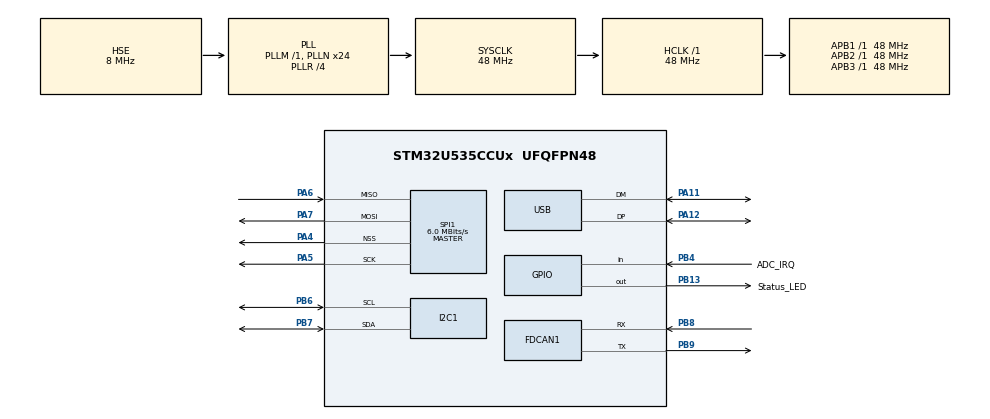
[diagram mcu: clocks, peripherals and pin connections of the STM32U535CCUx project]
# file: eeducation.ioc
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CORTEX_M33_NS.userName=CORTEX_M33
FDCAN1.CalculateBaudRateNominal=31250
FDCAN1.CalculateTimeBitNominal=32000
FDCAN1.CalculateTimeQuantumNominal=2000.0
FDCAN1.NominalPrescaler=16
FDCAN1.NominalTimeSeg1=13
FDCAN1.NominalTimeSeg2=2
I2C1.Timing=0x20303E5D
Mcu.Family=STM32U5
Mcu.Name=STM32U535CCUx
Mcu.Package=UFQFPN48
NVIC.PriorityGroup=NVIC_PRIORITYGROUP_4
NVIC.TIM1_UP_IRQn=true\:0\:0\:false\:false\:true\:true\:true\:true
NVIC.USB_IRQn=true\:0\:0\:false\:false\:true\:true\:true\:true
PA11.Mode=Device
PA11.Signal=USB_DM
PA12.Mode=Device
PA12.Signal=USB_DP
PA13\ (JTMS/SWDIO).Mode=Trace_Asynchronous_SW
PA13\ (JTMS/SWDIO).Signal=DEBUG_JTMS-SWDIO
PA14\ (JTCK/SWCLK).Mode=Trace_Asynchronous_SW
PA14\ (JTCK/SWCLK).Signal=DEBUG_JTCK-SWCLK
PA4.Mode=NSS_Signal_Hard_Output
PA4.Signal=SPI1_NSS
PA5.Mode=Full_Duplex_Master
PA5.Signal=SPI1_SCK
PA6.Mode=Full_Duplex_Master
PA6.Signal=SPI1_MISO
PA7.Mode=Full_Duplex_Master
PA7.Signal=SPI1_MOSI
PB13.GPIO_Label=Status_LED
PB13.Signal=GPIO_Output
PB3\ (JTDO/TRACESWO).Mode=Trace_Asynchronous_SW
PB3\ (JTDO/TRACESWO).Signal=DEBUG_JTDO-SWO
PB4\ (NJTRST).GPIO_Label=ADC_IRQ
PB4\ (NJTRST).Signal=GPIO_Input
PB6.Mode=I2C
PB6.Signal=I2C1_SCL
PB7.Mode=I2C
PB7.Signal=I2C1_SDA
PB8.Mode=FDCAN_Activate
PB8.Signal=FDCAN1_RX
PB9.Mode=FDCAN_Activate
PB9.Signal=FDCAN1_TX
PH0-OSC_IN\ (PH0).Mode=HSE-External-Oscillator
PH0-OSC_IN\ (PH0).Signal=RCC_OSC_IN
PH1-OSC_OUT\ (PH1).Mode=HSE-External-Oscillator
PH1-OSC_OUT\ (PH1).Signal=RCC_OSC_OUT
ProjectManager.HeapSize=0x200
ProjectManager.StackSize=0x400
ProjectManager.TargetToolchain=CMake
RCC.ADCFreq_Value=16000000
RCC.AHBFreq_Value=48000000
RCC.APB1Freq_Value=48000000
RCC.APB1TimFreq_Value=48000000
RCC.APB2Freq_Value=48000000
RCC.APB2TimFreq_Value=48000000
RCC.APB3Freq_Value=48000000
RCC.CK48CLockSelection=RCC_CLK48CLKSOURCE_PLL2
RCC.CortexFreq_Value=48000000
RCC.DACCLockSelectionVirtual=RCC_DAC1CLKSOURCE_LSI
RCC.DACCLockSelectionVirtualString=RCC_DAC1CLKSOURCE_LSI
RCC.EPOD_VALUE=8000000
RCC.FDCANClockSelection=RCC_FDCAN1CLKSOURCE_HSE
RCC.HCLKFreq_Value=48000000
RCC.HSE_VALUE=8000000
RCC.HSI48_VALUE=48000000
RCC.HSI_VALUE=16000000
RCC.LSE_VALUE=32768
RCC.LSIDIV_VALUE=32000
RCC.MSIClockRange=RCC_MSIRANGE_0
RCC.MSI_VALUE=48000000
RCC.PLL1Q=1
RCC.PLL1R=4
RCC.PLL2FRACN=0
RCC.PLL2N=24
RCC.PLL2Q=4
RCC.PLL2Source=RCC_PLLSOURCE_HSE
RCC.PLL3Source=RCC_PLLSOURCE_HSE
RCC.PLLFRACN=0
RCC.PLLN=24
RCC.PLLSourceVirtual=RCC_PLLSOURCE_HSE
RCC.SYSCLKFreq_VALUE=48000000
RCC.SYSCLKSource=RCC_SYSCLKSOURCE_PLLCLK
RCC.USBFreq_Value=48000000
RCC.VCOOutputFreq_Value=192000000
SPI1.BaudRatePrescaler=SPI_BAUDRATEPRESCALER_8
SPI1.CalculateBaudRate=6.0 MBits/s
SPI1.DataSize=SPI_DATASIZE_8BIT
SPI1.Direction=SPI_DIRECTION_2LINES
SPI1.MasterKeepIOState=SPI_MASTER_KEEP_IO_STATE_ENABLE
SPI1.Mode=SPI_MODE_MASTER
SPI1.NSSPMode=SPI_NSS_PULSE_DISABLE
SPI1.VirtualNSS=VM_NSSHARD
SPI1.VirtualType=VM_MASTER
TIM1.PeriodNoDither=7999
TIM1.Prescaler=999
USBX.AZRTOS_APP_MEM_ALLOCATION_METHOD_STANDALONE=1
USBX.BSP.number=1
USBX.Core_System=1
USBX.USBD_CDCACM_EPIN_ADDR=2
USBX.USBD_CDCACM_EPOUT_ADDR=3
USBX.UX_APP_MEM_POOL_SIZE_STANDALONE=65536
USBX.UX_DEVICE_CDC_ACM=1
USBX.UX_Device_Controller=1
USBX.UX_Device_CoreStack=1
USBX0.BSP.STBoard=false
USBX0.BSP.api=Unknown
USBX0.BSP.condition=SEMAOoUSBOoDRDOoFSOoDEVICEOoFOROoUSBX & DIE455
USBX0.BSP.instance=USB_DRD_FS
USBX0.BSP.ip=USB_DRD_FS
USBX0.BSP.mode=Device_Only_FS
USBX0.BSP.name=USB_Device
USBX0.BSP.solution=USB_DRD_FS
VP_FLASH_SIG_Activate_FlashIP.Mode=Activate_FlashIP
VP_ICACHE_VS_ICACHE.Mode=DefaultMode
VP_LPBAMQUEUE_VS_QUEUE.Mode=QUEUEMODE
VP_LPBAM_VS_SIG1.Mode=SmartRun
VP_LPBAM_VS_SIG4.Mode=LPDMA1
VP_MEMORYMAP_VS_MEMORYMAP.Mode=CurAppReg
VP_PWR_VS_SECSignals.Mode=Security/Privilege
VP_TIM1_VS_ClockSourceINT.Mode=Internal
VP_USBX_Core_System.Mode=Core_System
VP_USBX_UX\ Device\ CDC\ ACM\ Class_FS.Mode=UX_Device_class_CDC_ACM_FS
VP_USBX_UX\ Device\ Controller_FS.Mode=UX_Device_Controller_FS
VP_USBX_UX\ Device\ CoreStack_FS.Mode=UX_Device_CoreStack_FS
board=custom

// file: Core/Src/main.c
/* USER CODE BEGIN Header */
/**
 ******************************************************************************
 * @file           : main.c
 * @brief          : Main program body
 ******************************************************************************
 * @attention
 *
 * Copyright (c) 2026 STMicroelectronics.
 * All rights reserved.
 *
 * This software is licensed under terms that can be found in the LICENSE file
 * in the root directory of this software component.
 * If no LICENSE file comes with this software, it is provided AS-IS.
 *
 ******************************************************************************
 */
/* USER CODE END Header */
#include "main.h"
#include "app_usbx.h"

/* USER CODE BEGIN Includes */
#include "labs.h"
#include <stdio.h>

/* USER CODE END Includes */

FDCAN_HandleTypeDef hfdcan1;

I2C_HandleTypeDef hi2c1;

SPI_HandleTypeDef hspi1;

TIM_HandleTypeDef htim1;

PCD_HandleTypeDef hpcd_USB_DRD_FS;

/* USER CODE BEGIN PV */
extern UX_SLAVE_CLASS_CDC_ACM *cdc_acm;
/* USER CODE END PV */

void SystemClock_Config(void);
static void MX_GPIO_Init(void);
static void MX_FDCAN1_Init(void);
static void MX_FLASH_Init(void);
static void MX_I2C1_Init(void);
static void MX_SPI1_Init(void);
static void MX_ICACHE_Init(void);
static void MX_TIM1_Init(void);
/* USER CODE BEGIN PFP */
#include <string.h>

void usb_print(const char *s)
{
  if (cdc_acm == UX_NULL) return;          /* host not connected/configured */

  ULONG actual = 0;
  UINT  status;
  ULONG len = strlen(s);

  do {
    status = ux_device_class_cdc_acm_write_run(cdc_acm, (UCHAR *)s, len, &actual);
    ux_system_tasks_run();                 /* keep the stack moving while waiting */
  } while (status == UX_STATE_WAIT);
}
/* USER CODE END PFP */

/* USER CODE BEGIN 0 */
// printf() ends up here and goes out over SWO (ITM port 0) when SWV is
// running. ITM_SendChar() would spin forever if ITM is enabled but nothing is
// draining SWO, so only write to port 0 when it's ready.
int __io_putchar(int ch) {
  if ((ITM->TCR & ITM_TCR_ITMENA_Msk) && (ITM->TER & 1UL) &&
      ITM->PORT[0U].u32 != 0UL) {
    ITM->PORT[0U].u8 = (uint8_t)ch;
  }
  return ch;
}
/* USER CODE END 0 */

int main(void)
{

  /* MCU Configuration--------------------------------------------------------*/

  /* Reset of all peripherals, Initializes the Flash interface and the Systick. */
  HAL_Init();

  /* Configure the system clock */
  SystemClock_Config();

  /* Initialize all configured peripherals */
  MX_GPIO_Init();
  MX_FDCAN1_Init();
  MX_FLASH_Init();
  MX_I2C1_Init();
  MX_SPI1_Init();
  MX_ICACHE_Init();
  MX_TIM1_Init();
  MX_USB_DRD_FS_PCD_Init();
  MX_USBX_Init();
  /* USER CODE BEGIN 2 */

  // lab_1();
  // lab_2();
  // lab_3();
  // lab_4();

  /* USER CODE END 2 */

  /* Infinite loop */
  while (1) {

    /* USER CODE BEGIN 3 */
	//MX_USBX_Process();
	ux_system_tasks_run();
	static uint32_t last = 0;

	if (HAL_GetTick() - last >= 1000) {
		last = HAL_GetTick();
		usb_print("hello from STM32\r\n");
	}
  }
  /* USER CODE END 3 */
}

void SystemClock_Config(void)
{
  RCC_OscInitTypeDef RCC_OscInitStruct = {0};
  RCC_ClkInitTypeDef RCC_ClkInitStruct = {0};

  /** Configure the main internal regulator output voltage
  */
  if (HAL_PWREx_ControlVoltageScaling(PWR_REGULATOR_VOLTAGE_SCALE3) != HAL_OK)
  {
    Error_Handler();
  }

  /** Initializes the CPU, AHB and APB buses clocks
  */
  RCC_OscInitStruct.OscillatorType = RCC_OSCILLATORTYPE_HSE;
  RCC_OscInitStruct.HSEState = RCC_HSE_ON;
  RCC_OscInitStruct.PLL.PLLState = RCC_PLL_ON;
  RCC_OscInitStruct.PLL.PLLSource = RCC_PLLSOURCE_HSE;
  RCC_OscInitStruct.PLL.PLLMBOOST = RCC_PLLMBOOST_DIV1;
  RCC_OscInitStruct.PLL.PLLM = 1;
  RCC_OscInitStruct.PLL.PLLN = 24;
  RCC_OscInitStruct.PLL.PLLP = 2;
  RCC_OscInitStruct.PLL.PLLQ = 1;
  RCC_OscInitStruct.PLL.PLLR = 4;
  RCC_OscInitStruct.PLL.PLLRGE = RCC_PLLVCIRANGE_1;
  RCC_OscInitStruct.PLL.PLLFRACN = 0;
  if (HAL_RCC_OscConfig(&RCC_OscInitStruct) != HAL_OK)
  {
    Error_Handler();
  }

  /** Initializes the CPU, AHB and APB buses clocks
  */
  RCC_ClkInitStruct.ClockType = RCC_CLOCKTYPE_HCLK|RCC_CLOCKTYPE_SYSCLK
                              |RCC_CLOCKTYPE_PCLK1|RCC_CLOCKTYPE_PCLK2
                              |RCC_CLOCKTYPE_PCLK3;
  RCC_ClkInitStruct.SYSCLKSource = RCC_SYSCLKSOURCE_PLLCLK;
  RCC_ClkInitStruct.AHBCLKDivider = RCC_SYSCLK_DIV1;
  RCC_ClkInitStruct.APB1CLKDivider = RCC_HCLK_DIV1;
  RCC_ClkInitStruct.APB2CLKDivider = RCC_HCLK_DIV1;
  RCC_ClkInitStruct.APB3CLKDivider = RCC_HCLK_DIV1;

  if (HAL_RCC_ClockConfig(&RCC_ClkInitStruct, FLASH_LATENCY_1) != HAL_OK)
  {
    Error_Handler();
  }
}

static void MX_FDCAN1_Init(void)
{

  hfdcan1.Instance = FDCAN1;
  hfdcan1.Init.ClockDivider = FDCAN_CLOCK_DIV1;
  hfdcan1.Init.FrameFormat = FDCAN_FRAME_CLASSIC;
  hfdcan1.Init.Mode = FDCAN_MODE_NORMAL;
  hfdcan1.Init.AutoRetransmission = DISABLE;
  hfdcan1.Init.TransmitPause = DISABLE;
  hfdcan1.Init.ProtocolException = DISABLE;
  hfdcan1.Init.NominalPrescaler = 16;
  hfdcan1.Init.NominalSyncJumpWidth = 1;
  hfdcan1.Init.NominalTimeSeg1 = 13;
  hfdcan1.Init.NominalTimeSeg2 = 2;
  hfdcan1.Init.DataPrescaler = 1;
  hfdcan1.Init.DataSyncJumpWidth = 1;
  hfdcan1.Init.DataTimeSeg1 = 1;
  hfdcan1.Init.DataTimeSeg2 = 1;
  hfdcan1.Init.StdFiltersNbr = 0;
  hfdcan1.Init.ExtFiltersNbr = 0;
  hfdcan1.Init.TxFifoQueueMode = FDCAN_TX_FIFO_OPERATION;
  if (HAL_FDCAN_Init(&hfdcan1) != HAL_OK)
  {
    Error_Handler();
  }

}

static void MX_FLASH_Init(void)
{

  if (HAL_FLASH_Unlock() != HAL_OK)
  {
    Error_Handler();
  }
  if (HAL_FLASH_Lock() != HAL_OK)
  {
    Error_Handler();
  }

}

static void MX_I2C1_Init(void)
{

  hi2c1.Instance = I2C1;
  hi2c1.Init.Timing = 0x20303E5D;
  hi2c1.Init.OwnAddress1 = 0;
  hi2c1.Init.AddressingMode = I2C_ADDRESSINGMODE_7BIT;
  hi2c1.Init.DualAddressMode = I2C_DUALADDRESS_DISABLE;
  hi2c1.Init.OwnAddress2 = 0;
  hi2c1.Init.OwnAddress2Masks = I2C_OA2_NOMASK;
  hi2c1.Init.GeneralCallMode = I2C_GENERALCALL_DISABLE;
  hi2c1.Init.NoStretchMode = I2C_NOSTRETCH_DISABLE;
  if (HAL_I2C_Init(&hi2c1) != HAL_OK)
  {
    Error_Handler();
  }

  /** Configure Analogue filter
  */
  if (HAL_I2CEx_ConfigAnalogFilter(&hi2c1, I2C_ANALOGFILTER_ENABLE) != HAL_OK)
  {
    Error_Handler();
  }

  /** Configure Digital filter
  */
  if (HAL_I2CEx_ConfigDigitalFilter(&hi2c1, 0) != HAL_OK)
  {
    Error_Handler();
  }

}

static void MX_ICACHE_Init(void)
{

  /** Enable instruction cache (default 2-ways set associative cache)
  */
  if (HAL_ICACHE_Enable() != HAL_OK)
  {
    Error_Handler();
  }

}

static void MX_SPI1_Init(void)
{

  SPI_AutonomousModeConfTypeDef HAL_SPI_AutonomousMode_Cfg_Struct = {0};

  /* SPI1 parameter configuration*/
  hspi1.Instance = SPI1;
  hspi1.Init.Mode = SPI_MODE_MASTER;
  hspi1.Init.Direction = SPI_DIRECTION_2LINES;
  hspi1.Init.DataSize = SPI_DATASIZE_8BIT;
  hspi1.Init.CLKPolarity = SPI_POLARITY_LOW;
  hspi1.Init.CLKPhase = SPI_PHASE_1EDGE;
  hspi1.Init.NSS = SPI_NSS_HARD_OUTPUT;
  hspi1.Init.BaudRatePrescaler = SPI_BAUDRATEPRESCALER_8;
  hspi1.Init.FirstBit = SPI_FIRSTBIT_MSB;
  hspi1.Init.TIMode = SPI_TIMODE_DISABLE;
  hspi1.Init.CRCCalculation = SPI_CRCCALCULATION_DISABLE;
  hspi1.Init.CRCPolynomial = 0x7;
  hspi1.Init.NSSPMode = SPI_NSS_PULSE_DISABLE;
  hspi1.Init.NSSPolarity = SPI_NSS_POLARITY_LOW;
  hspi1.Init.FifoThreshold = SPI_FIFO_THRESHOLD_01DATA;
  hspi1.Init.MasterSSIdleness = SPI_MASTER_SS_IDLENESS_00CYCLE;
  hspi1.Init.MasterInterDataIdleness = SPI_MASTER_INTERDATA_IDLENESS_00CYCLE;
  hspi1.Init.MasterReceiverAutoSusp = SPI_MASTER_RX_AUTOSUSP_DISABLE;
  hspi1.Init.MasterKeepIOState = SPI_MASTER_KEEP_IO_STATE_ENABLE;
  hspi1.Init.IOSwap = SPI_IO_SWAP_DISABLE;
  hspi1.Init.ReadyMasterManagement = SPI_RDY_MASTER_MANAGEMENT_INTERNALLY;
  hspi1.Init.ReadyPolarity = SPI_RDY_POLARITY_HIGH;
  if (HAL_SPI_Init(&hspi1) != HAL_OK)
  {
    Error_Handler();
  }
  HAL_SPI_AutonomousMode_Cfg_Struct.TriggerState = SPI_AUTO_MODE_DISABLE;
  HAL_SPI_AutonomousMode_Cfg_Struct.TriggerSelection = SPI_GRP1_GPDMA_CH0_TCF_TRG;
  HAL_SPI_AutonomousMode_Cfg_Struct.TriggerPolarity = SPI_TRIG_POLARITY_RISING;
  if (HAL_SPIEx_SetConfigAutonomousMode(&hspi1, &HAL_SPI_AutonomousMode_Cfg_Struct) != HAL_OK)
  {
    Error_Handler();
  }

}

static void MX_TIM1_Init(void)
{

  TIM_ClockConfigTypeDef sClockSourceConfig = {0};
  TIM_MasterConfigTypeDef sMasterConfig = {0};

  htim1.Instance = TIM1;
  htim1.Init.Prescaler = 999;
  htim1.Init.CounterMode = TIM_COUNTERMODE_UP;
  htim1.Init.Period = 7999;
  htim1.Init.ClockDivision = TIM_CLOCKDIVISION_DIV1;
  htim1.Init.RepetitionCounter = 0;
  htim1.Init.AutoReloadPreload = TIM_AUTORELOAD_PRELOAD_DISABLE;
  if (HAL_TIM_Base_Init(&htim1) != HAL_OK)
  {
    Error_Handler();
  }
  sClockSourceConfig.ClockSource = TIM_CLOCKSOURCE_INTERNAL;
  if (HAL_TIM_ConfigClockSource(&htim1, &sClockSourceConfig) != HAL_OK)
  {
    Error_Handler();
  }
  sMasterConfig.MasterOutputTrigger = TIM_TRGO_RESET;
  sMasterConfig.MasterOutputTrigger2 = TIM_TRGO2_RESET;
  sMasterConfig.MasterSlaveMode = TIM_MASTERSLAVEMODE_DISABLE;
  if (HAL_TIMEx_MasterConfigSynchronization(&htim1, &sMasterConfig) != HAL_OK)
  {
    Error_Handler();
  }

}

void MX_USB_DRD_FS_PCD_Init(void)
{

  hpcd_USB_DRD_FS.Instance = USB_DRD_FS;
  hpcd_USB_DRD_FS.Init.dev_endpoints = 8;
  hpcd_USB_DRD_FS.Init.speed = PCD_SPEED_FULL;
  hpcd_USB_DRD_FS.Init.phy_itface = PCD_PHY_EMBEDDED;
  hpcd_USB_DRD_FS.Init.Sof_enable = DISABLE;
  hpcd_USB_DRD_FS.Init.low_power_enable = DISABLE;
  hpcd_USB_DRD_FS.Init.lpm_enable = DISABLE;
  hpcd_USB_DRD_FS.Init.battery_charging_enable = DISABLE;
  hpcd_USB_DRD_FS.Init.vbus_sensing_enable = DISABLE;
  hpcd_USB_DRD_FS.Init.bulk_doublebuffer_enable = DISABLE;
  hpcd_USB_DRD_FS.Init.iso_singlebuffer_enable = DISABLE;
  if (HAL_PCD_Init(&hpcd_USB_DRD_FS) != HAL_OK)
  {
    Error_Handler();
  }

}

static void MX_GPIO_Init(void)
{
  GPIO_InitTypeDef GPIO_InitStruct = {0};

  /* GPIO Ports Clock Enable */
  __HAL_RCC_GPIOH_CLK_ENABLE();
  __HAL_RCC_GPIOA_CLK_ENABLE();
  __HAL_RCC_GPIOB_CLK_ENABLE();

  /*Configure GPIO pin Output Level */
  HAL_GPIO_WritePin(Status_LED_GPIO_Port, Status_LED_Pin, GPIO_PIN_RESET);

  /*Configure GPIO pin : Status_LED_Pin */
  GPIO_InitStruct.Pin = Status_LED_Pin;
  GPIO_InitStruct.Mode = GPIO_MODE_OUTPUT_PP;
  GPIO_InitStruct.Pull = GPIO_NOPULL;
  GPIO_InitStruct.Speed = GPIO_SPEED_FREQ_LOW;
  HAL_GPIO_Init(Status_LED_GPIO_Port, &GPIO_InitStruct);

  /*Configure GPIO pin : ADC_IRQ_Pin */
  GPIO_InitStruct.Pin = ADC_IRQ_Pin;
  GPIO_InitStruct.Mode = GPIO_MODE_INPUT;
  GPIO_InitStruct.Pull = GPIO_NOPULL;
  HAL_GPIO_Init(ADC_IRQ_GPIO_Port, &GPIO_InitStruct);

}

void Error_Handler(void)
{
  __disable_irq();
  while (1) {
  }
}
#ifdef USE_FULL_ASSERT
/**
  * @brief  Reports the name of the source file and the source line number
  *         where the assert_param error has occurred.
  * @param  file: pointer to the source file name
  * @param  line: assert_param error line source number
  * @retval None
  */
void assert_failed(uint8_t *file, uint32_t line)
{
  /* USER CODE BEGIN 6 */
  /* User can add his own implementation to report the file name and line
     number, ex: printf("Wrong parameters value: file %s on line %d\r\n", file,
     line) */
  /* USER CODE END 6 */
}
#endif /* USE_FULL_ASSERT */
